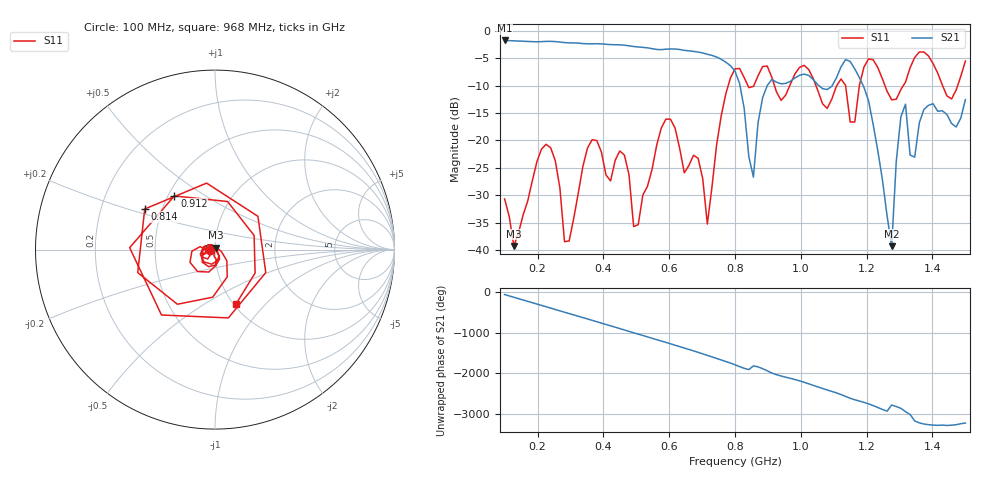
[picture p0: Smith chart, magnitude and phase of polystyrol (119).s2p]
! NanoVNA-App
! Date: 2025-09-26 09:42:48
! Start: 100MHz Stop: 1,5GHz Points: 101
! S-Parameter data: F S11 S21 S12 S22
# Hz S RI R 50
!  Frequency  S11_Real  S11_Imag  S21_Real  S21_Imag  S12_Real  S12_Imag  S22_Real  S22_Imag
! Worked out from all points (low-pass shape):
!   101 points, 100 MHz to 1.5 GHz, reference 50 ohm
!   highest |S21| = -1.79 dB at 100 MHz (marker M1); lowest = -39.3 dB at 1.276 GHz (marker M2)
!   |S21| within 3 dB of the highest: start of sweep to 743.5 MHz
!   lowest |S11| = -39.2 dB at 128 MHz (marker M3), VSWR 1.02, Z = 50.3 + j1.06 ohm
!   |S11| at or under -10 dB: start of sweep to 779.4 MHz; 1.046 GHz to 1.109 GHz (63.58 MHz wide, 5.9 % of centre); 1.256 GHz to 1.312 GHz (56.07 MHz wide, 4.37 % of centre) (the widest 3 of 7)
!   S12 and S22 are empty: the file has one direction only
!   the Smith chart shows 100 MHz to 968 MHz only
!   S11 on the Smith chart (normalised r, x): 100 MHz: 0.94, -0.01; 814 MHz: 0.40, +0.23; 912 MHz: 0.54, +0.38; 968 MHz: 1.03, -0.69
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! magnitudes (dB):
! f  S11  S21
! 100 MHz  -30.7  -1.8
! 128 MHz  -39.2  -1.9
! 212 MHz  -21.6  -2.0
! 254 MHz  -23.7  -2.0
! 282 MHz  -38.4  -2.2
! 338 MHz  -24.7  -2.4
! 464 MHz  -22.7  -2.6
! 506 MHz  -35.3  -3.0
! 576 MHz  -17.7  -3.5
! 688 MHz  -23.3  -3.9
! 716 MHz  -35.2  -4.3
! 800 MHz  -7.0  -7.4
! 814 MHz  -6.9  -9.6
! 856 MHz  -10.2  -26.7
! 912 MHz  -8.5  -8.9
! 968 MHz  -9.8  -9.2
! 1.038 GHz  -8.8  -8.9
! 1.178 GHz  -9.9  -8.6
! 1.276 GHz  -12.6  -39.3
! 1.318 GHz  -9.4  -13.4
! 1.346 GHz  -4.9  -23.0
! 1.5 GHz  -5.5  -12.6
